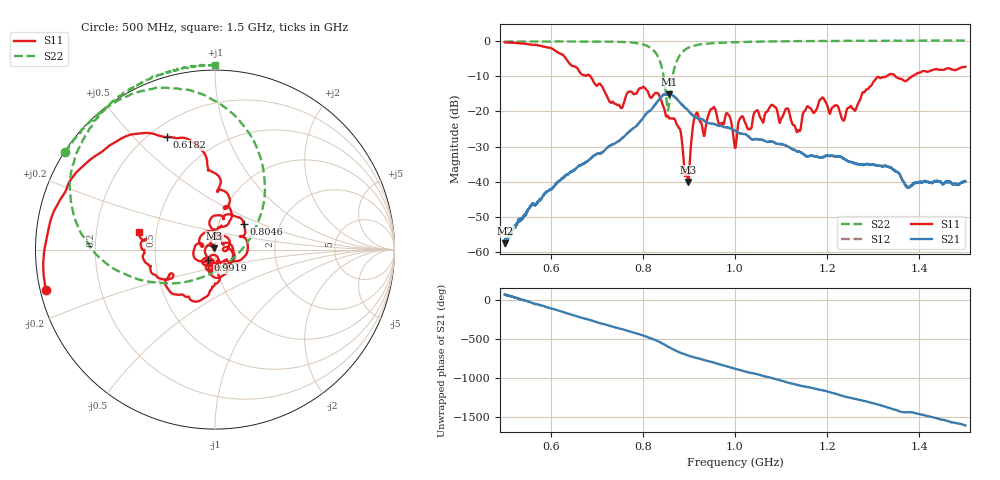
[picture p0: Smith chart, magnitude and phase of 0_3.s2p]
!Keysight Technologies,N5242B,MY48420860,A.13.80.08
!Date: Saturday, September 26, 2020 11:20:31
!Correction: S11(Full 2 Port(1,2))
!S21(Full 2 Port(1,2))
!S12(Full 2 Port(1,2))
!S22(Full 2 Port(1,2))
!S2P File: Measurements: S11, S21, S12, S22:
# Hz S  dB  R 50
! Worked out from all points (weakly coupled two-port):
!   2650 points, 500 MHz to 1.5 GHz, reference 50 ohm
!   highest |S21| = -15.12 dB at 857.5 MHz (marker M1); lowest = -57.6 dB at 501.9 MHz (marker M2)
!   lowest |S11| = -40.1 dB at 898.6 MHz (marker M3), VSWR 1.02, Z = 49.6 + j0.917 ohm
!   |S11| at or under -10 dB: 686.6 MHz to 1.328 GHz (641.7 MHz wide, 63.7 % of centre); 1.348 GHz to 1.384 GHz (35.74 MHz wide, 2.62 % of centre)
!   |S22| runs from -19.7 to 0.3 dB; largest |S21 - S12| = 0.00042
!   S11 on the Smith chart (normalised r, x): 500 MHz: 0.02, -0.12; 618.2 MHz: 0.27, +0.63; 804.6 MHz: 1.31, +0.39; 991.9 MHz: 0.92, -0.11; 1.5 GHz: 0.40, +0.10
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5e8  -0.26 -166.5  -57.35 63.3  -57.44 62.2  -0.06 147.0
5.018875e8  -0.27 -167.4  -57.65 65.6  -57.12 58.6  -0.05 146.9
5.668177e8  -0.97 154.6  -46.72 -55.1  -46.63 -56.0  -0.02 142.0
6.181578e8  -3.31 113.2  -39.85 -141.0  -39.78 -142.0  -0.02 137.5
6.668554e8  -9.29 86.5  -35.15 131.4  -35.22 130.8  -0.04 132.3
7.517931e8  -18.90 85.0  -28.00 -10.4  -27.98 -10.7  -0.14 118.7
8.046433e8  -13.40 41.9  -21.05 -103.1  -21.06 -103.0  -1.02 97.8
8.337108e8  -14.96 -5.7  -16.79 -170.8  -16.79 -170.8  -4.63 65.2
8.574934e8  -21.98 -47.7  -15.12 113.9  -15.13 113.9  -17.21 -100.7
8.725934e8  -23.45 -110.0  -16.21 66.6  -16.22 66.5  -6.00 -163.1
8.98641e8  -40.10 110.9  -19.73 7.6  -19.75 7.6  -1.81 166.0
9.15251e8  -20.71 56.1  -21.71 -19.2  -21.71 -19.3  -1.05 156.1
9.918837e8  -23.09 -123.0  -24.89 -145.5  -24.91 -145.6  -0.27 136.4
1.000189e9  -30.41 -101.0  -25.50 -160.2  -25.49 -160.3  -0.25 135.2
1.045866e9  -19.82 -120.0  -27.84 133.3  -27.86 133.3  -0.07 129.5
1.113062e9  -19.13 123.2  -29.90 27.6  -29.92 27.8  0.05 122.4
1.137222e9  -25.38 36.2  -31.41 -6.8  -31.41 -6.7  0.10 120.3
1.166667e9  -19.56 -54.2  -32.67 -43.7  -32.66 -43.7  0.10 117.8
1.235372e9  -22.66 -102.5  -33.42 -149.7  -33.41 -149.3  0.16 112.1
1.333522e9  -9.56 -131.3  -35.87 63.7  -35.82 63.3  0.22 104.2
1.375425e9  -10.85 -146.4  -41.61 6.8  -41.68 6.6  0.20 100.9
1.5e9  -7.23 166.8  -39.87 -161.8  -39.79 -161.7  0.24 90.2
